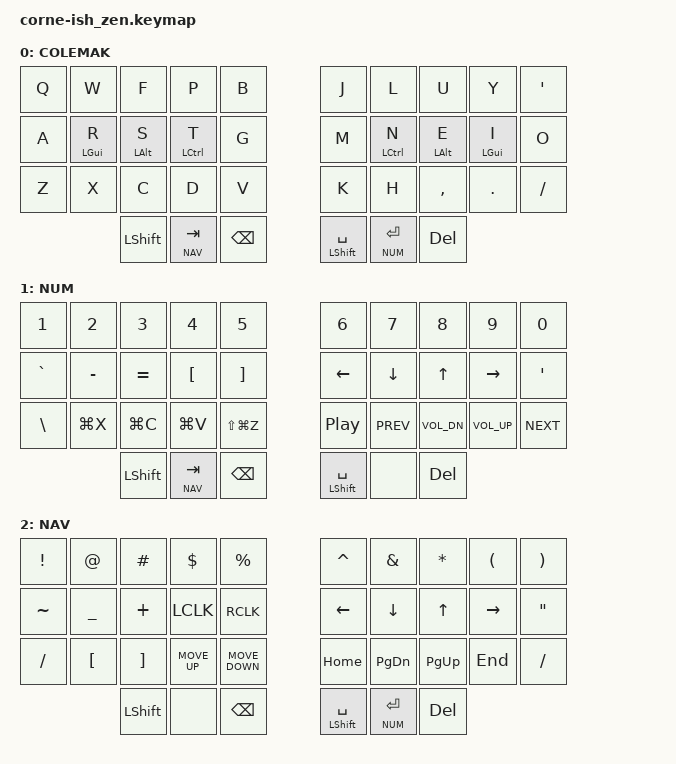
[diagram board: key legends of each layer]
#include <behaviors.dtsi>
#include <dt-bindings/zmk/keys.h>
#include <dt-bindings/zmk/bt.h>
#include <behaviors/mouse_keys.dtsi>
#include <dt-bindings/zmk/pointing.h>

// LAYERS
#define COL 0
#define NUM 1
#define NAV 2

// MACROS
#define U_UNDO  LG(Z)
#define U_CUT   LG(X)
#define U_COPY  LG(C)
#define U_PSTE  LG(V)
#define U_REDO  LS(LG(Z))
#define U_CLIP  LC(LG(C))
#define U_SHOT  LS(LG(N4))

// CONFIGURATION
#define COMBO(NAME, KEYPOS) \
  combo_##NAME { \
      timeout-ms = <40>; \
      key-positions = <KEYPOS>; \
      bindings = <&kp NAME>; \
  };

&lt {
  flavor = "tap-preferred";
  tapping-term-ms = <200>;
  quick-tap-ms = <0>;
};

&caps_word {
  continue-list = <UNDERSCORE MINUS>;
};

/ {
  chosen {
    zmk,matrix_transform = &five_column_transform;
  };
};

// KEYMAP
/ {
    behaviors {
      hm: homerow_mods {
        compatible = "zmk,behavior-hold-tap";
        label = "HOMEROW_MODS";
        #binding-cells = <2>;
        tapping-term-ms = <200>;
        quick_tap_ms = <0>;
        flavor = "tap-preferred";
        bindings = <&kp>, <&kp>;
      };
    };
    
    combos {
      compatible = "zmk,combos";
      
      // Left-hand combos
      COMBO(AT_SIGN, 1 2)
      COMBO(LEFT_BRACE, 2 3)
      COMBO(EXCLAMATION, 1 11)
      COMBO(HASH, 2 12)
      COMBO(DOLLAR, 3 13)
      COMBO(GRAVE, 10 11)
      COMBO(COLON, 11 12)
      COMBO(LEFT_PARENTHESIS, 12 13)
      COMBO(PERCENT, 11 21)
      COMBO(CARET, 12 22)
      COMBO(AMPERSAND, 13 23)
      COMBO(TILDE, 20 21)
      COMBO(SEMICOLON, 21 22)
      COMBO(LEFT_BRACKET, 22 23) 

      // Right-hand combos
      COMBO(RIGHT_BRACE, 6 7)
      COMBO(DOUBLE_QUOTES, 7 8)
      COMBO(EQUAL, 6 16)
      COMBO(PIPE, 7 17)
      COMBO(BACKSLASH, 8 18)
      COMBO(RIGHT_PARENTHESIS, 16 17)
      COMBO(MINUS, 17 18)
      COMBO(KP_PLUS, 18 19)
      COMBO(ASTERISK, 16 26)
      COMBO(LESS_THAN, 17 27)
      COMBO(GREATER_THAN, 18 28)
      COMBO(RIGHT_BRACKET, 26 27)
      COMBO(UNDERSCORE, 27 28)
      COMBO(QUESTION, 28 29)
    };

    keymap {
      compatible = "zmk,keymap";

      col_layer {
        label = "COLEMAK";
        bindings = <
          &kp Q       &kp W       &kp F       &kp P         &kp B               &kp J           &kp L         &kp U      &kp Y       &kp SQT
          &kp A       &hm LGUI R  &hm LALT S  &hm LCTRL T   &kp G               &kp M           &hm LCTRL N   &hm LALT E &hm LGUI I  &kp O
          &kp Z       &kp X       &kp C       &kp D         &kp V               &kp K           &kp H         &kp COMMA  &kp DOT     &kp SLASH
                                  &kp LSHFT   &lt NAV TAB   &kp BSPC            &hm LSHFT SPACE &lt NUM ENTER &kp DEL
        >;
      };

      num_layer {
        label = "NUM";
        bindings = <
          &kp N1      &kp N2     &kp N3      &kp N4        &kp N5             &kp N6          &kp N7     &kp N8       &kp N9        &kp N0
          &kp GRAVE   &kp MINUS  &kp EQUAL   &kp LBKT      &kp RBKT           &kp LEFT        &kp DOWN   &kp UP       &kp RIGHT     &kp SQT
          &kp BSLH    &kp U_CUT  &kp U_COPY  &kp U_PSTE    &kp U_REDO         &kp C_PP        &kp C_PREV &kp C_VOL_DN &kp C_VOL_UP &kp C_NEXT
                                 &kp LSHFT   &lt NAV TAB &kp BSPC           &hm LSHFT SPACE &none      &kp DEL
        >;
      };

      nav_layer {
        label = "NAV";
        bindings = <
          &kp EXCL   &kp AT     &kp HASH    &kp DLLR      &kp PRCNT           &kp CARET       &kp AMPS       &kp ASTRK     &kp LPAR     &kp RPAR
          &kp TILDE  &kp UNDER  &kp PLUS    &kp LCLK      &kp RCLK            &kp LEFT        &kp DOWN       &kp UP        &kp RIGHT    &kp DQT
          &kp FSLH   &kp LBKT   &kp RBKT    &kp MOVE_UP   &kp MOVE_DOWN       &kp HOME        &kp PG_DN      &kp PG_UP     &kp END      &kp SLASH
                                &kp LSHFT   &none         &kp BSPC            &hm LSHFT SPACE &lt NUM ENTER  &kp DEL
        >;
      };
    };
};
